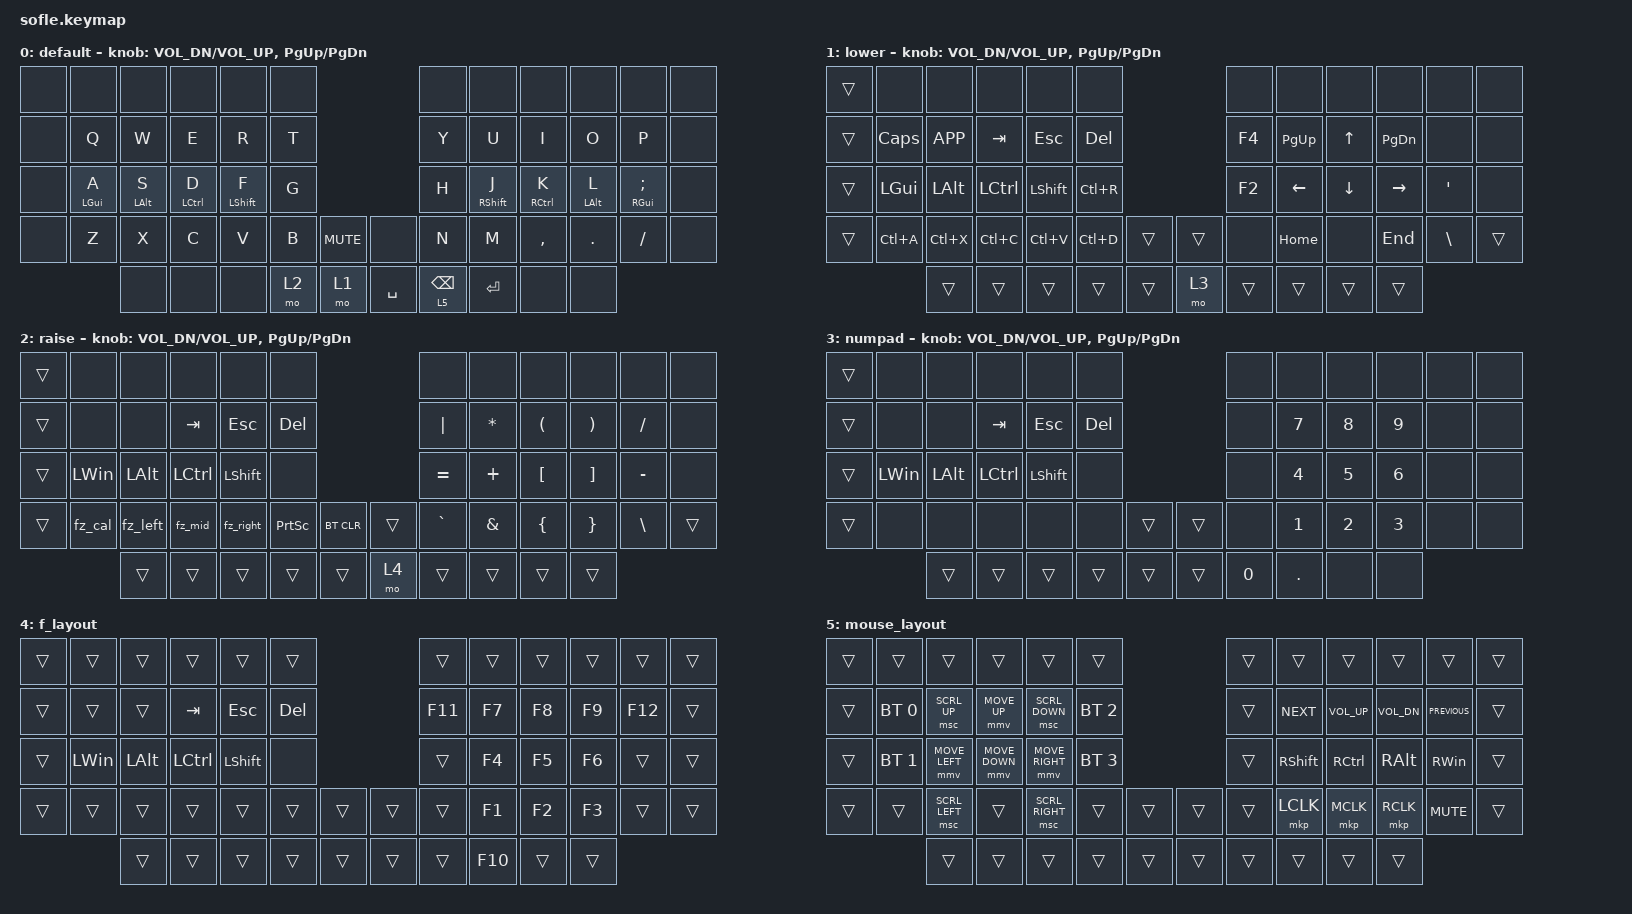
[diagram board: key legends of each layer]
/*
 * Copyright (c) 2020 The ZMK Contributors
 *
 * SPDX-License-Identifier: MIT
 */

#include <dt-bindings/zmk/mouse.h>

// Cấu hình tốc độ mouse (PHẢI đặt TRƯỚC include pointing.h)

#define ZMK_POINTING_DEFAULT_MOVE_VAL 1000  // Tốc độ di chuyển (default: 600)
#define ZMK_POINTING_DEFAULT_SCRL_VAL 20    // Tốc độ scroll (default: 10)

#include <behaviors.dtsi>
#include <dt-bindings/zmk/bt.h>
#include <dt-bindings/zmk/keys.h>
#include <dt-bindings/zmk/pointing.h>

#define BASE 0
#define LOWER 1
#define RAISE 2
#define ADJUST 3

/ {
    behaviors {
        space_layer: space_layer_tap {
            compatible = "zmk,behavior-hold-tap";
            #binding-cells = <2>;
            flavor = "balanced";
            tapping-term-ms = <200>;
            quick-tap-ms = <150>;
            bindings = <&mo>, <&kp>;
        };

        // ─── Home Row Mod cho TAY TRÁI ───

        hml: home_row_mod_left {
            compatible = "zmk,behavior-hold-tap";
            #binding-cells = <2>;
            flavor = "balanced";
            tapping-term-ms = <280>;
            quick-tap-ms = <175>;
            require-prior-idle-ms = <150>;
            bindings = <&kp>, <&kp>;

            hold-trigger-key-positions = <
                6  7  8  9  10 11
                18 19 20 21 22 23
                30 31 32 33 34 35
                42 43 44 45 46 47
                52 53 54 55 56 57 58 59
            >;

            hold-trigger-on-release;
        };

        // ─── Home Row Mod cho TAY PHẢI ───

        hmr: home_row_mod_right {
            compatible = "zmk,behavior-hold-tap";
            #binding-cells = <2>;
            flavor = "balanced";
            tapping-term-ms = <280>;
            quick-tap-ms = <175>;
            require-prior-idle-ms = <150>;
            bindings = <&kp>, <&kp>;

            hold-trigger-key-positions = <
                0  1  2  3  4  5
                12 13 14 15 16 17
                24 25 26 27 28 29
                36 37 38 39 40 41
                48 49 50 51 52 53 54 55
            >;

            hold-trigger-on-release;
        };
    };

    macros {
        fz_left: fz_left {
            label = "FZ_LEFT";
            compatible = "zmk,behavior-macro";
            #binding-cells = <0>;
            bindings =
                <&macro_press>,
                <&kp LGUI>,
                <&macro_press>,
                <&kp LCTRL>,
                <&macro_press>,
                <&kp LALT>,
                <&macro_tap>,
                <&kp N1>,
                <&macro_release>,
                <&kp LALT>,
                <&macro_release>,
                <&kp LCTRL>,
                <&macro_release>,
                <&kp LGUI>;
        };

        fz_mid: fz_mid {
            label = "FZ_MID";
            compatible = "zmk,behavior-macro";
            #binding-cells = <0>;
            bindings =
                <&macro_press>,
                <&kp LGUI>,
                <&macro_press>,
                <&kp LCTRL>,
                <&macro_press>,
                <&kp LALT>,
                <&macro_tap>,
                <&kp N2>,
                <&macro_release>,
                <&kp LALT>,
                <&macro_release>,
                <&kp LCTRL>,
                <&macro_release>,
                <&kp LGUI>;
        };

        fz_right: fz_right {
            label = "FZ_RIGHT";
            compatible = "zmk,behavior-macro";
            #binding-cells = <0>;
            bindings =
                <&macro_press>,
                <&kp LGUI>,
                <&macro_press>,
                <&kp LCTRL>,
                <&macro_press>,
                <&kp LALT>,
                <&macro_tap>,
                <&kp N3>,
                <&macro_release>,
                <&kp LALT>,
                <&macro_release>,
                <&kp LCTRL>,
                <&macro_release>,
                <&kp LGUI>;
        };

        fz_cal: fz_cal {
            label = "FZ_CAL";
            compatible = "zmk,behavior-macro";
            #binding-cells = <0>;
            bindings =
                <&macro_press>,
                <&kp LGUI>,
                <&macro_tap>,
                <&kp R>,
                <&macro_release>,
                <&kp LGUI>,
                <&macro_pause_for_release>,
                <&macro_tap>,
                <&kp C>,
                <&macro_tap>,
                <&kp A>,
                <&macro_tap>,
                <&kp L>,
                <&macro_tap>,
                <&kp C>,
                <&macro_tap>,
                <&kp ENTER>;
        };

        td_1: tap_dance_1 {
            compatible = "zmk,behavior-tap-dance";
            #binding-cells = <0>;
            tapping-term-ms = <180>;
            bindings = <&kp N1>, <&kp F1>;
        };

        td_2: tap_dance_2 {
            compatible = "zmk,behavior-tap-dance";
            #binding-cells = <0>;
            tapping-term-ms = <180>;
            bindings = <&kp N2>, <&kp F2>;
        };

        td_3: tap_dance_3 {
            compatible = "zmk,behavior-tap-dance";
            #binding-cells = <0>;
            tapping-term-ms = <180>;
            bindings = <&kp N3>, <&kp F3>;
        };

        td_4: tap_dance_4 {
            compatible = "zmk,behavior-tap-dance";
            #binding-cells = <0>;
            tapping-term-ms = <180>;
            bindings = <&kp N4>, <&kp F4>;
        };

        td_5: tap_dance_5 {
            compatible = "zmk,behavior-tap-dance";
            #binding-cells = <0>;
            tapping-term-ms = <180>;
            bindings = <&kp N5>, <&kp F5>;
        };

        td_6: tap_dance_6 {
            compatible = "zmk,behavior-tap-dance";
            #binding-cells = <0>;
            tapping-term-ms = <180>;
            bindings = <&kp N6>, <&kp F6>;
        };

        td_7: tap_dance_7 {
            compatible = "zmk,behavior-tap-dance";
            #binding-cells = <0>;
            tapping-term-ms = <180>;
            bindings = <&kp N7>, <&kp F7>;
        };

        td_8: tap_dance_8 {
            compatible = "zmk,behavior-tap-dance";
            #binding-cells = <0>;
            tapping-term-ms = <180>;
            bindings = <&kp N8>, <&kp F8>;
        };

        td_9: tap_dance_9 {
            compatible = "zmk,behavior-tap-dance";
            #binding-cells = <0>;
            tapping-term-ms = <180>;
            bindings = <&kp N9>, <&kp F9>;
        };

        td_0: tap_dance_0 {
            compatible = "zmk,behavior-tap-dance";
            #binding-cells = <0>;
            tapping-term-ms = <180>;
            bindings = <&kp N0>, <&kp F10>;
        };
    };

    keymap {
        compatible = "zmk,keymap";

        default_layer {
            label = "default";
            bindings = <
&none  &none        &none        &none         &none         &none                           &none            &none         &none         &none            &none           &none
&none  &kp Q        &kp W        &kp E         &kp R         &kp T                           &kp Y            &kp U         &kp I         &kp O            &kp P           &none
&none  &hml LGUI A  &hml LALT S  &hml LCTRL D  &hml LSHFT F  &kp G                           &kp H            &hmr RSHFT J  &hmr RCTRL K  &hmr LEFT_ALT L  &hmr RGUI SEMI  &none
&none  &kp Z        &kp X        &kp C         &kp V         &kp B  &kp C_MUTE    &none      &kp N            &kp M         &kp COMMA     &kp DOT          &kp FSLH        &none
                    &none        &none         &none         &mo 2  &mo 1         &kp SPACE  &lt 5 BACKSPACE  &kp ENTER     &none         &none
            >;

            sensor-bindings = <&inc_dec_kp C_VOL_DN C_VOL_UP &inc_dec_kp PG_UP PG_DN>;
        };

        arrow_layer {
            label = "lower";
            bindings = <
&trans  &none      &none         &none      &none           &none                         &none   &none           &none           &none          &none          &none
&trans  &kp CAPS   &kp K_APP     &kp TAB    &kp ESCAPE      &kp DELETE                    &kp F4  &kp PG_UP       &kp UP_ARROW    &kp PAGE_DOWN  &none          &none
&trans  &kp LGUI   &kp LEFT_ALT  &kp LCTRL  &kp LEFT_SHIFT  &kp LC(R)                     &kp F2  &kp LEFT_ARROW  &kp DOWN_ARROW  &kp RIGHT      &kp SQT        &none
&trans  &kp LC(A)  &kp LC(X)     &kp LC(C)  &kp LC(V)       &kp LC(D)   &trans    &trans  &none   &kp HOME        &none           &kp END        &kp BACKSLASH  &trans
                   &trans        &trans     &trans          &trans      &trans    &mo 3   &trans  &trans          &trans          &trans
            >;

            sensor-bindings = <&inc_dec_kp C_VOL_DN C_VOL_UP &inc_dec_kp PG_UP PG_DN>;
        };

        symbols_layer {
            label = "raise";
            bindings = <
&trans  &none     &none         &none      &none           &none                                  &none      &none          &none                 &none                  &none      &none
&trans  &none     &none         &kp TAB    &kp ESC         &kp DELETE                             &kp PIPE   &kp ASTERISK   &kp LEFT_PARENTHESIS  &kp RIGHT_PARENTHESIS  &kp SLASH  &none
&trans  &kp LWIN  &kp LEFT_ALT  &kp LCTRL  &kp LEFT_SHIFT  &none                                  &kp EQUAL  &kp PLUS       &kp LEFT_BRACKET      &kp RIGHT_BRACKET      &kp MINUS  &none
&trans  &fz_cal   &fz_left      &fz_mid    &fz_right       &kp PRINTSCREEN  &bt BT_CLR    &trans  &kp GRAVE  &kp AMPERSAND  &kp LEFT_BRACE        &kp RIGHT_BRACE        &kp BSLH   &trans
                  &trans        &trans     &trans          &trans           &trans        &mo 4   &trans     &trans         &trans                &trans
            >;

            sensor-bindings = <&inc_dec_kp C_VOL_DN C_VOL_UP &inc_dec_kp PG_UP PG_DN>;
        };

        numpad_layer {
            label = "numpad";
            bindings = <
&trans  &none     &none         &none      &none           &none                         &none         &none         &none         &none         &none  &none
&trans  &none     &none         &kp TAB    &kp ESCAPE      &kp DELETE                    &none         &kp NUMBER_7  &kp NUMBER_8  &kp NUMBER_9  &none  &none
&trans  &kp LWIN  &kp LEFT_ALT  &kp LCTRL  &kp LEFT_SHIFT  &none                         &none         &kp NUMBER_4  &kp NUMBER_5  &kp NUMBER_6  &none  &none
&trans  &none     &none         &none      &none           &none       &trans    &trans  &none         &kp NUMBER_1  &kp NUMBER_2  &kp NUMBER_3  &none  &none
                  &trans        &trans     &trans          &trans      &trans    &trans  &kp NUMBER_0  &kp DOT       &none         &none
            >;

            sensor-bindings = <&inc_dec_kp C_VOL_DN C_VOL_UP &inc_dec_kp PG_UP PG_DN>;
        };

        f_layout {
            bindings = <
&trans  &trans    &trans        &trans     &trans          &trans                        &trans   &trans   &trans  &trans  &trans   &trans
&trans  &trans    &trans        &kp TAB    &kp ESC         &kp DELETE                    &kp F11  &kp F7   &kp F8  &kp F9  &kp F12  &trans
&trans  &kp LWIN  &kp LEFT_ALT  &kp LCTRL  &kp LEFT_SHIFT  &none                         &trans   &kp F4   &kp F5  &kp F6  &trans   &trans
&trans  &trans    &trans        &trans     &trans          &trans      &trans    &trans  &trans   &kp F1   &kp F2  &kp F3  &trans   &trans
                  &trans        &trans     &trans          &trans      &trans    &trans  &trans   &kp F10  &trans  &trans
            >;
        };

        mouse_layout {
            bindings = <
&trans  &trans        &trans          &trans          &trans           &trans                          &trans  &trans      &trans        &trans         &trans          &trans
&trans  &bt BT_SEL 0  &msc SCRL_UP    &mmv MOVE_UP    &msc SCRL_DOWN   &bt BT_SEL 2                    &trans  &kp C_NEXT  &kp C_VOL_UP  &kp C_VOL_DN   &kp C_PREVIOUS  &trans
&trans  &bt BT_SEL 1  &mmv MOVE_LEFT  &mmv MOVE_DOWN  &mmv MOVE_RIGHT  &bt BT_SEL 3                    &trans  &kp RSHFT   &kp RCTRL     &kp RIGHT_ALT  &kp RIGHT_WIN   &trans
&trans  &trans        &msc SCRL_LEFT  &trans          &msc SCRL_RIGHT  &trans        &trans    &trans  &trans  &mkp LCLK   &mkp MCLK     &mkp RCLK      &kp C_MUTE      &trans
                      &trans          &trans          &trans           &trans        &trans    &trans  &trans  &trans      &trans        &trans
            >;
        };
    };
};
